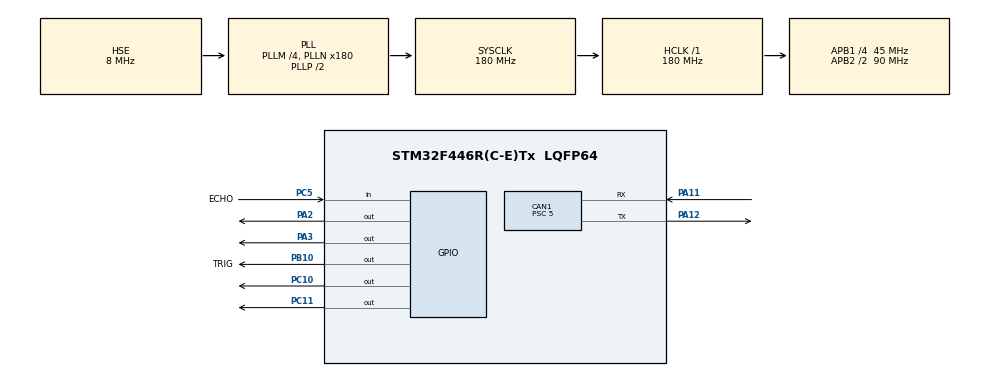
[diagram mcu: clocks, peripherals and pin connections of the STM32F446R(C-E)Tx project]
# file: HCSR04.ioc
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CAN1.BS1=CAN_BS1_10TQ
CAN1.BS2=CAN_BS2_7TQ
CAN1.CalculateTimeQuantum=111.11111111111111
CAN1.Prescaler=5
Mcu.Family=STM32F4
Mcu.Name=STM32F446R(C-E)Tx
Mcu.Package=LQFP64
NVIC.CAN1_RX0_IRQn=true\:0\:0\:false\:false\:true\:true\:true
NVIC.PriorityGroup=NVIC_PRIORITYGROUP_4
NVIC.TIM2_IRQn=true\:0\:0\:false\:false\:true\:true\:true
NVIC.TIM4_IRQn=true\:0\:0\:false\:false\:true\:true\:true
PA11.Mode=Master
PA11.Signal=CAN1_RX
PA12.Mode=Master
PA12.Signal=CAN1_TX
PA13.Mode=Serial_Wire
PA13.Signal=SYS_JTMS-SWDIO
PA14.Mode=Serial_Wire
PA14.Signal=SYS_JTCK-SWCLK
PA2.Signal=GPIO_Output
PA3.Signal=GPIO_Output
PB10.GPIO_Label=TRIG
PB10.Signal=GPIO_Output
PC10.Signal=GPIO_Output
PC11.Signal=GPIO_Output
PC5.GPIO_Label=ECHO
PC5.Signal=GPIO_Input
PH0-OSC_IN.Mode=HSE-External-Oscillator
PH0-OSC_IN.Signal=RCC_OSC_IN
PH1-OSC_OUT.Mode=HSE-External-Oscillator
PH1-OSC_OUT.Signal=RCC_OSC_OUT
ProjectManager.HeapSize=0x200
ProjectManager.StackSize=0x400
ProjectManager.TargetToolchain=MDK-ARM V5.27
RCC.AHBFreq_Value=180000000
RCC.APB1CLKDivider=RCC_HCLK_DIV4
RCC.APB1Freq_Value=45000000
RCC.APB1TimFreq_Value=90000000
RCC.APB2CLKDivider=RCC_HCLK_DIV2
RCC.APB2Freq_Value=90000000
RCC.APB2TimFreq_Value=180000000
RCC.CortexFreq_Value=180000000
RCC.HCLKFreq_Value=180000000
RCC.HSE_VALUE=8000000
RCC.PLLM=4
RCC.PLLN=180
RCC.PLLSourceVirtual=RCC_PLLSOURCE_HSE
RCC.SYSCLKFreq_VALUE=180000000
RCC.SYSCLKSource=RCC_SYSCLKSOURCE_PLLCLK
RCC.USBFreq_Value=180000000
RCC.VCOOutputFreq_Value=360000000
TIM2.AutoReloadPreload=TIM_AUTORELOAD_PRELOAD_ENABLE
TIM2.Period=1000-1
TIM2.Prescaler=90-1
TIM4.AutoReloadPreload=TIM_AUTORELOAD_PRELOAD_ENABLE
TIM4.Period=10-1
TIM4.Prescaler=90-1
VP_TIM2_VS_ClockSourceINT.Mode=Internal
VP_TIM4_VS_ClockSourceINT.Mode=Internal
board=custom

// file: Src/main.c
/* USER CODE BEGIN Header */
/**
  ******************************************************************************
  * @file           : main.c
  * @brief          : Main program body
  ******************************************************************************
  * @attention
  *
  * <h2><center>&copy; Copyright (c) 2020 STMicroelectronics.
  * All rights reserved.</center></h2>
  *
  * This software component is licensed by ST under BSD 3-Clause license,
  * the "License"; You may not use this file except in compliance with the
  * License. You may obtain a copy of the License at:
  *                        opensource.org/licenses/BSD-3-Clause
  *
  ******************************************************************************
  */
/* USER CODE END Header */

#include "main.h"
#include "can.h"
#include "tim.h"
#include "gpio.h"

/* USER CODE BEGIN PD */
#define MAX_HEIGHT 400.f
#define MIN_HEIGHT 2.f
#define PinA_H HAL_GPIO_WritePin(GPIOA,GPIO_PIN_2,GPIO_PIN_SET)
#define PinA_L HAL_GPIO_WritePin(GPIOA,GPIO_PIN_2,GPIO_PIN_RESET)
#define PinB_H HAL_GPIO_WritePin(GPIOA,GPIO_PIN_3,GPIO_PIN_SET)
#define PinB_L HAL_GPIO_WritePin(GPIOA,GPIO_PIN_3,GPIO_PIN_RESET)
#define PinC_H HAL_GPIO_WritePin(GPIOC,GPIO_PIN_10,GPIO_PIN_SET)
#define PinC_L HAL_GPIO_WritePin(GPIOC,GPIO_PIN_10,GPIO_PIN_RESET)
#define PinD_H HAL_GPIO_WritePin(GPIOC,GPIO_PIN_11,GPIO_PIN_SET)
#define PinD_L HAL_GPIO_WritePin(GPIOC,GPIO_PIN_11,GPIO_PIN_RESET)
/* USER CODE END PD */

/* USER CODE BEGIN PV */
float timems;
extern uint8_t CanReceivedata4[];
int8_t motorCnt = 0;
/* USER CODE END PV */

void SystemClock_Config(void);
/* USER CODE BEGIN PFP */
void CAN_FILTER_INIT(void);
void MotorGoDown(void);
void MotorGoUp(void);
/* USER CODE END PFP */

int main(void)
{

  /* MCU Configuration--------------------------------------------------------*/

  /* Reset of all peripherals, Initializes the Flash interface and the Systick. */
  HAL_Init();

  /* Configure the system clock */
  SystemClock_Config();

  /* Initialize all configured peripherals */
  MX_GPIO_Init();
  MX_TIM2_Init();
  MX_TIM4_Init();
  MX_CAN1_Init();
  /* USER CODE BEGIN 2 */
	/*TIM*/
	__HAL_TIM_ENABLE(&htim2);
	__HAL_TIM_ENABLE_IT(&htim2 , TIM_IT_UPDATE);
	__HAL_TIM_ENABLE(&htim4);
	__HAL_TIM_ENABLE_IT(&htim4 , TIM_IT_UPDATE);
	/*CAN*/
	CAN_FILTER_INIT();
	HAL_CAN_Start(&hcan1);
	HAL_CAN_ActivateNotification(&hcan1,CAN_IT_RX_FIFO0_MSG_PENDING);
	HAL_CAN_ActivateNotification(&hcan1,CAN_IT_LAST_ERROR_CODE);
	HAL_CAN_ActivateNotification(&hcan1,CAN_IT_BUSOFF);
	HAL_CAN_ActivateNotification(&hcan1,CAN_IT_ERROR);
	HAL_Delay(5);
  /* USER CODE END 2 */

  /* Infinite loop */
  /* USER CODE BEGIN WHILE */
  while (1)
  {
		if(GetPeirodTimeFlag())
		{
			if(CanReceivedata4[2]>CanReceivedata4[3])//当前楼层大于目标楼层，下楼
				MotorGoDown();
			else if(CanReceivedata4[2]<CanReceivedata4[3])//上楼
				MotorGoUp();
			else
			{
				PinA_L;
				PinB_L;
				PinC_L;
				PinD_L;
			}
		}
    /* USER CODE END WHILE */

  }
}

void SystemClock_Config(void)
{
  RCC_OscInitTypeDef RCC_OscInitStruct = {0};
  RCC_ClkInitTypeDef RCC_ClkInitStruct = {0};

  /** Configure the main internal regulator output voltage
  */
  __HAL_RCC_PWR_CLK_ENABLE();
  __HAL_PWR_VOLTAGESCALING_CONFIG(PWR_REGULATOR_VOLTAGE_SCALE1);
  /** Initializes the CPU, AHB and APB busses clocks
  */
  RCC_OscInitStruct.OscillatorType = RCC_OSCILLATORTYPE_HSE;
  RCC_OscInitStruct.HSEState = RCC_HSE_ON;
  RCC_OscInitStruct.PLL.PLLState = RCC_PLL_ON;
  RCC_OscInitStruct.PLL.PLLSource = RCC_PLLSOURCE_HSE;
  RCC_OscInitStruct.PLL.PLLM = 4;
  RCC_OscInitStruct.PLL.PLLN = 180;
  RCC_OscInitStruct.PLL.PLLP = RCC_PLLP_DIV2;
  RCC_OscInitStruct.PLL.PLLQ = 2;
  RCC_OscInitStruct.PLL.PLLR = 2;
  if (HAL_RCC_OscConfig(&RCC_OscInitStruct) != HAL_OK)
  {
    Error_Handler();
  }
  /** Activate the Over-Drive mode
  */
  if (HAL_PWREx_EnableOverDrive() != HAL_OK)
  {
    Error_Handler();
  }
  /** Initializes the CPU, AHB and APB busses clocks
  */
  RCC_ClkInitStruct.ClockType = RCC_CLOCKTYPE_HCLK|RCC_CLOCKTYPE_SYSCLK
                              |RCC_CLOCKTYPE_PCLK1|RCC_CLOCKTYPE_PCLK2;
  RCC_ClkInitStruct.SYSCLKSource = RCC_SYSCLKSOURCE_PLLCLK;
  RCC_ClkInitStruct.AHBCLKDivider = RCC_SYSCLK_DIV1;
  RCC_ClkInitStruct.APB1CLKDivider = RCC_HCLK_DIV4;
  RCC_ClkInitStruct.APB2CLKDivider = RCC_HCLK_DIV2;

  if (HAL_RCC_ClockConfig(&RCC_ClkInitStruct, FLASH_LATENCY_5) != HAL_OK)
  {
    Error_Handler();
  }
}

/* USER CODE BEGIN 4 */
void MotorGoUp(void)
{
	switch(motorCnt){
		case 0:
			PinA_H;
			PinB_L;
			PinC_L;
			PinD_L;
			break;
		case 1:
			PinA_H;
			PinB_H;
			PinC_L;
			PinD_L;
			break;
		case 2:
			PinA_L;
			PinB_H;
			PinC_L;
			PinD_L;
			break;
		case 3:
			PinA_L;
			PinB_H;
			PinC_H;
			PinD_L;
			break;
		case 4:
			PinA_L;
			PinB_L;
			PinC_H;
			PinD_L;
			break;
		case 5:
			PinA_L;
			PinB_L;
			PinC_H;
			PinD_H;
			break;
		case 6:
			PinA_L;
			PinB_L;
			PinC_L;
			PinD_H;
			break;
		case 7:
			PinA_H;
			PinB_L;
			PinC_L;
			PinD_H;
			break;
		default :
      PinA_L;
			PinB_L;
			PinC_L;
			PinD_L;
			break;
		}
		motorCnt ++;
		motorCnt = motorCnt%8;
}
void MotorGoDown(void)
{
	switch(motorCnt){
		case 0:
			PinA_H;
			PinB_L;
			PinC_L;
			PinD_L;
			break;
		case 1:
			PinA_H;
			PinB_H;
			PinC_L;
			PinD_L;
			break;
		case 2:
			PinA_L;
			PinB_H;
			PinC_L;
			PinD_L;
			break;
		case 3:
			PinA_L;
			PinB_H;
			PinC_H;
			PinD_L;
			break;
		case 4:
			PinA_L;
			PinB_L;
			PinC_H;
			PinD_L;
			break;
		case 5:
			PinA_L;
			PinB_L;
			PinC_H;
			PinD_H;
			break;
		case 6:
			PinA_L;
			PinB_L;
			PinC_L;
			PinD_H;
			break;
		case 7:
			PinA_H;
			PinB_L;
			PinC_L;
			PinD_H;
			break;
		default :
      PinA_L;
			PinB_L;
			PinC_L;
			PinD_L;
			break;
		}
		motorCnt --;
		if(motorCnt<0)
			motorCnt+=8;
		motorCnt = motorCnt%8;
}
void CAN_FILTER_INIT(void)
{
	CAN_FilterTypeDef filter1;
	filter1.FilterBank=0;
  filter1.FilterMode=CAN_FILTERMODE_IDMASK;
  filter1.FilterScale=CAN_FILTERSCALE_32BIT;
  filter1.FilterIdHigh=0x0000;
	filter1.FilterIdLow=0x0000;
	filter1.FilterMaskIdHigh=0x0000;
	filter1.FilterMaskIdLow=0x0000;
  filter1.FilterFIFOAssignment=CAN_FilterFIFO0;
  filter1.FilterActivation=ENABLE;
	if(HAL_CAN_ConfigFilter(&hcan1,&filter1)!=HAL_OK)
	{
		Error_Handler();
	}
}
/* USER CODE END 4 */

void Error_Handler(void)
{
}

/************************ (C) COPYRIGHT STMicroelectronics *****END OF FILE****/
